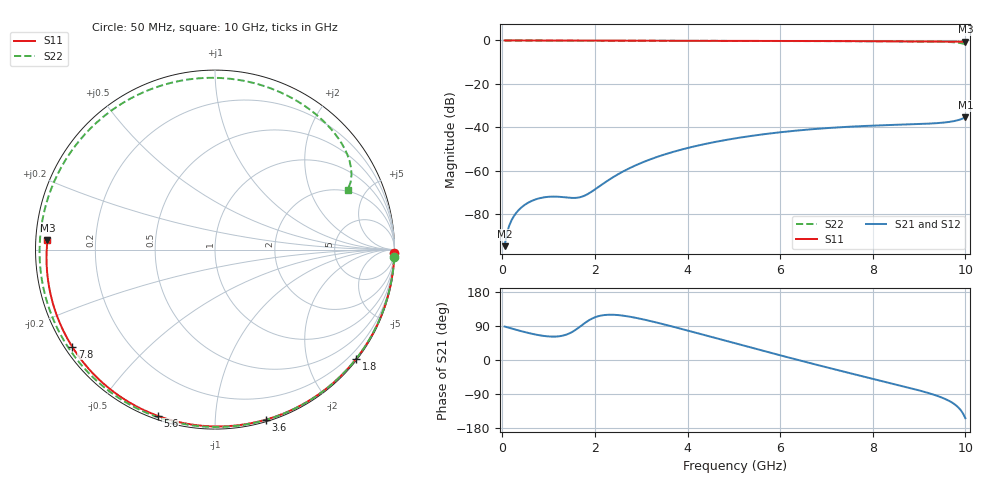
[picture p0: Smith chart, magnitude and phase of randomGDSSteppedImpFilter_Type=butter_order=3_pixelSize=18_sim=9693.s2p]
! freq	dB(S11)	phase(S11)	dB(S12)	phase(S12)
!  dB(S21)	phase(S21)	dB(S22)	phase(S22)
!S-par simulation data
#  GHz  S  DB  R 50
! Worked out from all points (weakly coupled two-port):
!   200 points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, 50 MHz to 10 GHz, reference 50 ohm
!   highest |S21| = -35.44 dB at 10 GHz (marker M1); lowest = -94.7 dB at 50 MHz (marker M2)
!   lowest |S11| = -0.6 dB at 10 GHz (marker M3), VSWR 29.68, Z = 1.69 + j1.45 ohm
!   |S11| at or under -10 dB: nowhere
!   |S22| runs from -1.8 to 0.0 dB; largest |S21 - S12| = 0
!   S11 on the Smith chart (normalised r, x): 50 MHz: open; 1.8 GHz: 0.03, -2.92; 3.6 GHz: 0.02, -1.35; 5.6 GHz: 0.02, -0.71; 7.8 GHz: 0.02, -0.31; 10 GHz: 0.03, +0.03
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0.05  -0.00 -1.1  -94.65 88.3  -94.65 88.3  -0.00 -2.5
0.25  -0.01 -5.4  -80.85 81.4  -80.85 81.4  -0.02 -12.4
0.55  -0.02 -11.7  -74.76 71.7  -74.76 71.7  -0.04 -27.0
0.85  -0.02 -18.1  -72.38 64.3  -72.38 64.3  -0.05 -41.2
1.3  -0.03 -27.5  -72.06 64.1  -72.06 64.1  -0.07 -61.6
1.55  -0.04 -32.7  -72.46 77.0  -72.46 77.0  -0.08 -72.3
1.75  -0.05 -36.8  -71.65 94.6  -71.65 94.6  -0.09 -80.6
1.8  -0.05 -37.9  -71.18 99.1  -71.18 99.1  -0.09 -82.6
2.5  -0.07 -52.0  -61.56 118.5  -61.56 118.5  -0.12 -109.0
3.4  -0.09 -69.5  -53.18 96.8  -53.18 96.8  -0.14 -138.7
3.6  -0.10 -73.2  -51.83 90.6  -51.83 90.6  -0.15 -144.8
4.3  -0.12 -86.2  -48.00 68.0  -48.00 68.0  -0.17 -165.0
5.05  -0.15 -99.6  -44.98 43.3  -44.98 43.3  -0.21 174.5
5.6  -0.18 -109.1  -43.27 25.3  -43.27 25.3  -0.23 159.8
6.7  -0.25 -127.6  -40.82 -9.8  -40.82 -9.8  -0.29 130.3
7.25  -0.29 -136.7  -39.99 -26.9  -39.99 -26.9  -0.32 115.1
7.8  -0.33 -145.8  -39.38 -43.6  -39.38 -43.6  -0.36 99.4
8.35  -0.39 -154.9  -38.92 -60.1  -38.92 -60.1  -0.40 83.0
8.85  -0.44 -163.3  -38.57 -75.4  -38.57 -75.4  -0.46 67.5
9.3  -0.49 -171.0  -38.16 -90.9  -38.16 -90.9  -0.54 52.7
9.75  -0.55 -178.8  -37.13 -115.4  -37.13 -115.4  -0.84 35.7
10  -0.59 176.7  -35.44 -153.6  -35.44 -153.6  -1.83 24.2
